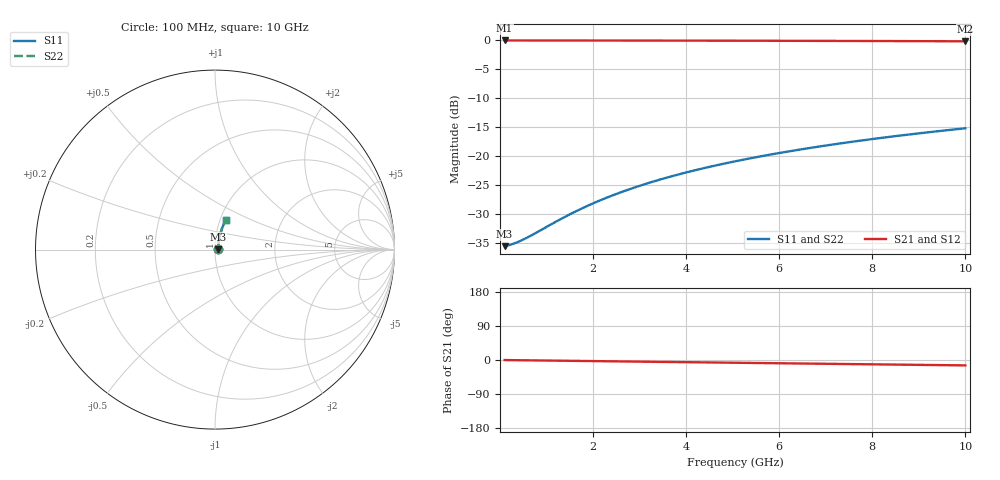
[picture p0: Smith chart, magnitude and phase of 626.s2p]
# Hz S RI R 50.00
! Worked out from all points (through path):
!   100 points, 100 MHz to 10 GHz, reference 50 ohm
!   highest |S21| = -0.15 dB at 100 MHz (marker M1); lowest = -0.3 dB at 10 GHz (marker M2)
!   group delay of S21, straight-line fit = 3.95 ps
!   lowest |S11| = -35.5 dB at 100 MHz (marker M3), VSWR 1.03, Z = 51.7 + j0.178 ohm
!   |S11| at or under -10 dB: start of sweep to end of sweep
!   |S22| runs from -35.5 to -15.2 dB; largest |S21 - S12| = 0
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1e8  0.0168 0.00172  0.9832 -0.00247  0.9832 -0.00247  0.0168 0.00172
2e8  0.0169 0.00343  0.9831 -0.00493  0.9831 -0.00493  0.0169 0.00343
3e8  0.017 0.00515  0.983 -0.00739  0.983 -0.00739  0.017 0.00515
5e8  0.0172 0.00858  0.9828 -0.0123  0.9828 -0.0123  0.0172 0.00858
7e8  0.0174 0.012  0.9826 -0.0172  0.9826 -0.0172  0.0174 0.012
1.2e9  0.0179 0.0206  0.982 -0.0295  0.982 -0.0295  0.0179 0.0206
1.4e9  0.0182 0.024  0.9817 -0.0345  0.9817 -0.0345  0.0182 0.024
1.8e9  0.0189 0.0308  0.981 -0.0443  0.981 -0.0443  0.0189 0.0308
2.2e9  0.0196 0.0376  0.9802 -0.0541  0.9802 -0.0541  0.0196 0.0376
2.6e9  0.0205 0.0444  0.9793 -0.0639  0.9793 -0.0639  0.0205 0.0444
3e9  0.0215 0.0512  0.9782 -0.0736  0.9782 -0.0736  0.0215 0.0512
3.4e9  0.0227 0.0579  0.977 -0.0833  0.977 -0.0833  0.0227 0.0579
3.8e9  0.024 0.0646  0.9756 -0.0931  0.9756 -0.0931  0.024 0.0646
4.2e9  0.0254 0.0713  0.9741 -0.1027  0.9741 -0.1027  0.0254 0.0713
4.6e9  0.0269 0.0779  0.9724 -0.1124  0.9724 -0.1124  0.0269 0.0779
5.1e9  0.029 0.0862  0.9702 -0.1244  0.9702 -0.1244  0.029 0.0862
5.9e9  0.0328 0.0992  0.9661 -0.1434  0.9661 -0.1434  0.0328 0.0992
6.7e9  0.0371 0.1121  0.9616 -0.1623  0.9616 -0.1623  0.0371 0.1121
7.5e9  0.0419 0.1247  0.9565 -0.1809  0.9565 -0.1809  0.0419 0.1247
8.4e9  0.0478 0.1387  0.9501 -0.2016  0.9501 -0.2016  0.0478 0.1387
9.2e9  0.0536 0.1508  0.9439 -0.2198  0.9439 -0.2198  0.0536 0.1508
1e10  0.0598 0.1626  0.9373 -0.2376  0.9373 -0.2376  0.0598 0.1626
